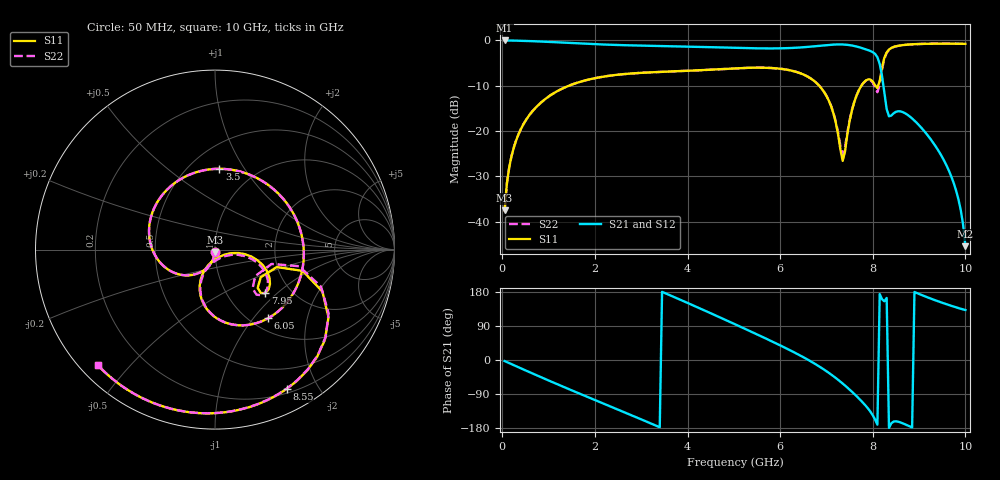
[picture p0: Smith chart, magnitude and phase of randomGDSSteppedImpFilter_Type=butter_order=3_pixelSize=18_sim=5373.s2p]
! freq	dB(S11)	phase(S11)	dB(S12)	phase(S12)
!  dB(S21)	phase(S21)	dB(S22)	phase(S22)
!S-par simulation data
#  GHz  S  DB  R 50
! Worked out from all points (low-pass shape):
!   200 points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, 50 MHz to 10 GHz, reference 50 ohm
!   highest |S21| = -0.01 dB at 50 MHz (marker M1); lowest = -45.4 dB at 10 GHz (marker M2)
!   |S21| within 3 dB of the highest: start of sweep to 8.052 GHz
!   lowest |S11| = -37.5 dB at 50 MHz (marker M3), VSWR 1.03, Z = 49.9 - j1.33 ohm
!   |S11| at or under -10 dB: start of sweep to 1.438 GHz; 6.843 GHz to 7.754 GHz (910.5 MHz wide, 12.5 % of centre); 8.058 GHz to 8.116 GHz (58.7 MHz wide, 0.726 % of centre)
!   |S22| runs from -37.5 to -0.7 dB; largest |S21 - S12| = 0
!   S11 on the Smith chart (normalised r, x): 50 MHz: 1.00, -0.03; 3.5 GHz: 0.69, +0.78; 6.05 GHz: 1.19, -1.19; 7.95 GHz: 1.50, -0.84; 8.55 GHz: 0.25, -1.61; 10 GHz: 0.05, -0.41
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0.05  -37.52 -92.5  -0.01 -2.8  -0.01 -2.8  -37.52 -92.5
0.2  -25.51 -101.1  -0.03 -11.0  -0.03 -11.0  -25.51 -101.1
0.5  -17.75 -117.9  -0.11 -27.4  -0.11 -27.4  -17.75 -117.9
1.75  -8.94 176.4  -0.71 -92.9  -0.71 -92.9  -8.94 176.3
2.65  -7.41 130.7  -1.06 -138.7  -1.06 -138.7  -7.41 130.5
3.4  -6.96 92.1  -1.24 -177.5  -1.24 -177.5  -6.96 91.8
3.5  -6.92 86.8  -1.26 177.3  -1.26 177.3  -6.92 86.5
4.35  -6.54 41.5  -1.45 131.6  -1.45 131.6  -6.54 41.2
5.05  -6.15 3.4  -1.64 93.0  -1.64 93.0  -6.15 3.1
6.05  -6.32 -52.4  -1.74 35.7  -1.74 35.7  -6.31 -52.5
6.7  -8.68 -91.6  -1.34 -6.4  -1.34 -6.4  -8.67 -91.3
7.1  -14.53 -115.4  -0.96 -38.2  -0.96 -38.2  -14.46 -113.9
7.35  -26.59 -66.6  -0.90 -62.1  -0.90 -62.1  -25.24 -66.7
7.6  -13.62 -10.9  -1.22 -89.5  -1.22 -89.5  -13.56 -14.1
7.95  -8.63 -40.8  -2.35 -136.6  -2.35 -136.6  -8.77 -44.2
8.1  -10.52 -31.1  -3.71 -170.7  -3.71 -170.7  -11.43 -33.5
8.2  -5.98 -13.7  -7.85 160.3  -7.85 160.3  -6.41 -11.2
8.35  -2.02 -39.4  -16.75 -179.0  -16.75 -179.0  -2.11 -38.2
8.55  -1.18 -62.7  -15.63 -162.8  -15.63 -162.8  -1.20 -62.2
9.55  -0.71 -118.2  -26.73 149.0  -26.73 149.0  -0.71 -118.1
9.85  -0.74 -130.0  -35.08 137.0  -35.08 137.0  -0.74 -129.9
10  -0.76 -135.6  -45.41 131.8  -45.41 131.8  -0.76 -135.5
